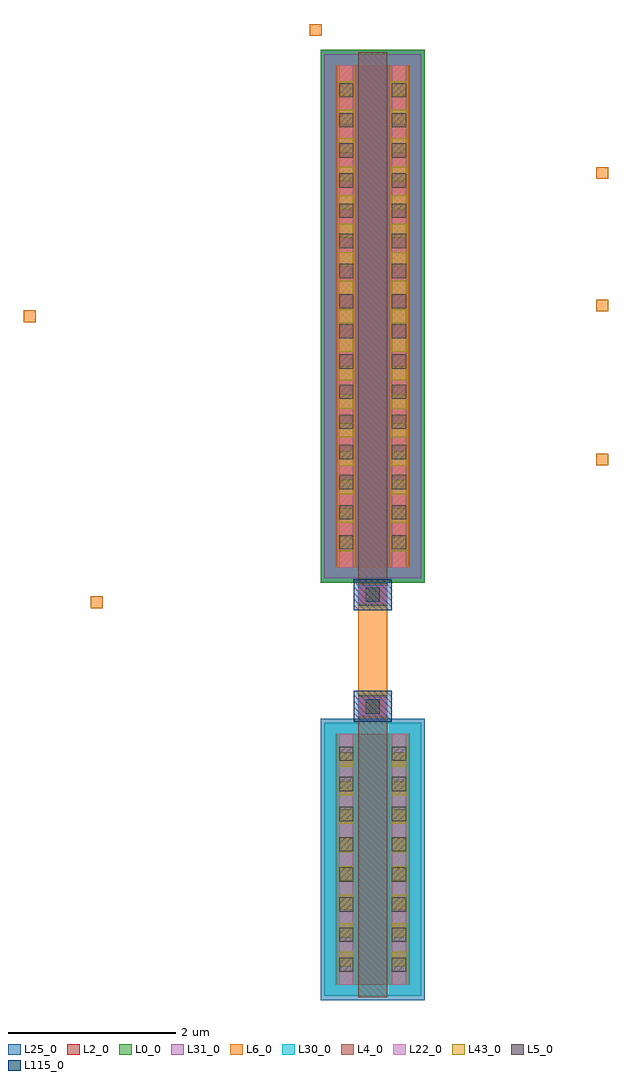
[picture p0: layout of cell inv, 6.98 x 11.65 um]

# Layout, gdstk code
import gdstk
lib = gdstk.Library(unit=1e-6, precision=1e-09)
def R(c, l, rs):  # rectangles x0, y0, x1, y1
    for r in rs: c.add(gdstk.rectangle(r[:2], r[2:], *l))
def A(c, l, x, y, w, h, nx, ny, dx, dy):  # array of equal rectangles
    R(c, l, [(x+i*dx, y+j*dy, x+i*dx+w, y+j*dy+h) for i in range(nx) for j in range(ny)])
L0_0 = (0, 0)
L2_0 = (2, 0)
L4_0 = (4, 0)
L5_0 = (5, 0)
L6_0 = (6, 0)
L22_0 = (22, 0)
L25_0 = (25, 0)
L30_0 = (30, 0)
L31_0 = (31, 0)
L43_0 = (43, 0)
L115_0 = (115, 0)

pfet_01v8_lvt__1 = lib.new_cell('pfet_01v8_lvt$$1')
R(pfet_01v8_lvt__1, L0_0, [(-0.445,-0.18,0.795,6.18)])
R(pfet_01v8_lvt__1, L2_0, [(-0.265,0,0,6), (0,0,0.35,6), (0.35,0,0.615,6)])
R(pfet_01v8_lvt__1, L4_0, [(0,-0.46,0.35,-0.19), (0,-0.19,0.35,0), (0,0,0.35,6), (0,6,0.35,6.15)])
A(pfet_01v8_lvt__1, L5_0, -0.225, 0.215, 0.17, 0.17, 1, 16, 0, 0.36)
A(pfet_01v8_lvt__1, L5_0, 0.405, 0.215, 0.17, 0.17, 1, 16, 0, 0.36)
R(pfet_01v8_lvt__1, L5_0, [(0.09,-0.41,0.26,-0.24)])
R(pfet_01v8_lvt__1, L6_0, [(0,-0.46,0.35,-0.19), (-0.255,0,-0.025,6), (0.375,0,0.605,6)])
R(pfet_01v8_lvt__1, L22_0, [(0,-0.44,0.35,-0.21), (-0.225,0,-0.055,6), (0.405,0,0.575,6)])
R(pfet_01v8_lvt__1, L25_0, [(-0.445,-0.18,0.795,6.18)])
R(pfet_01v8_lvt__1, L31_0, [(-0.405,-0.13,0.755,6.13)])
A(pfet_01v8_lvt__1, L43_0, -0.225, 0.195, 0.17, 0.17, 1, 17, 0, 0.34)
A(pfet_01v8_lvt__1, L43_0, 0.405, 0.195, 0.17, 0.17, 1, 17, 0, 0.34)
R(pfet_01v8_lvt__1, L43_0, [(0.09,-0.41,0.26,-0.24)])
R(pfet_01v8_lvt__1, L115_0, [(-0.05,-0.51,0.4,-0.14)])

nfet_01v8_lvt__2 = lib.new_cell('nfet_01v8_lvt$$2')
R(nfet_01v8_lvt__2, L2_0, [(-0.265,0,0,3), (0,0,0.35,3), (0.35,0,0.615,3)])
R(nfet_01v8_lvt__2, L4_0, [(0,-0.15,0.35,0), (0,0,0.35,3), (0,3,0.35,3.19), (0,3.19,0.35,3.46)])
A(nfet_01v8_lvt__2, L5_0, -0.225, 0.155, 0.17, 0.17, 1, 8, 0, 0.36)
A(nfet_01v8_lvt__2, L5_0, 0.405, 0.155, 0.17, 0.17, 1, 8, 0, 0.36)
R(nfet_01v8_lvt__2, L5_0, [(0.09,3.24,0.26,3.41)])
R(nfet_01v8_lvt__2, L6_0, [(-0.255,0,-0.025,3), (0.375,0,0.605,3), (0,3.19,0.35,3.46)])
R(nfet_01v8_lvt__2, L22_0, [(-0.225,0,-0.055,3), (0.405,0,0.575,3), (0,3.21,0.35,3.44)])
R(nfet_01v8_lvt__2, L25_0, [(-0.445,-0.18,0.795,3.18)])
R(nfet_01v8_lvt__2, L30_0, [(-0.405,-0.13,0.755,3.13)])
A(nfet_01v8_lvt__2, L43_0, -0.225, 0.225, 0.17, 0.17, 1, 8, 0, 0.34)
A(nfet_01v8_lvt__2, L43_0, 0.405, 0.225, 0.17, 0.17, 1, 8, 0, 0.34)
R(nfet_01v8_lvt__2, L43_0, [(0.09,3.24,0.26,3.41)])
R(nfet_01v8_lvt__2, L115_0, [(-0.05,3.14,0.4,3.51)])

inv = lib.new_cell('inv')
R(inv, L6_0, [(0.8,0,0.94,0.14), (6.835,1.705,6.975,1.845), (0,3.415,0.14,3.555), (6.835,3.545,6.975,3.685), (6.835,5.125,6.975,5.265), (3.415,6.835,3.555,6.975)])
inv.add(gdstk.FlexPath([(4.165,-1.04),(4.165,0.025)], 0.35, ends="flush", simple_path=True, layer=6, datatype=0))  # L6_0
inv.add(gdstk.Reference(pfet_01v8_lvt__1, (3.99,0.485)))
inv.add(gdstk.Reference(nfet_01v8_lvt__2, (3.99,-4.5)))

lib.write_gds('inv.gds')
